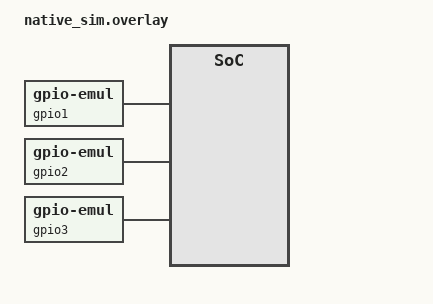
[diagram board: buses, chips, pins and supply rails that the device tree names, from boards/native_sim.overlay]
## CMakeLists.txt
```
# Copyright (c) 2021 Intel Corporation.
# SPDX-License-Identifier: Apache-2.0

cmake_minimum_required(VERSION 3.28.0)

find_package(Zephyr REQUIRED HINTS $ENV{ZEPHYR_BASE})
project(pm-states-test)

target_sources(app PRIVATE src/main.c)
```

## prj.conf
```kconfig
CONFIG_ZTEST=y
CONFIG_PM_DEVICE=y
CONFIG_PM=y
CONFIG_PM_POLICY_CUSTOM=y

CONFIG_GPIO=y
CONFIG_PM_DEVICE_WAKEUP_POWER_STATES=y
```

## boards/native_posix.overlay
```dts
/*
 * Copyright (c) 2021 Intel Corporation.
 *
 * SPDX-License-Identifier: Apache-2.0
 */

&gpio0 {
	compatible = "zephyr,gpio-emul";
	gpio-controller;
	wakeup-source;
};

/ {
	cpus {
		power-states {
			s2ram: s2ram {
				compatible = "zephyr,power-state";
				power-state-name = "suspend-to-ram";
			};
		};
	};
};

&cpu0 {
	cpu-power-states = <&s2ram>;
};
```

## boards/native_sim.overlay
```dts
/*
 * Copyright (c) 2021 Intel Corporation.
 *
 * SPDX-License-Identifier: Apache-2.0
 */
/ {
	cpus {
		power-states {
			state0: state0 {
				compatible = "zephyr,power-state";
				power-state-name = "suspend-to-ram";
			};

			/*
			 * Not in cpu-power-states: only ever named by the
			 * per-device properties below.
			 */
			state1: state1 {
				compatible = "zephyr,power-state";
				power-state-name = "standby";
			};
		};
	};

	/* Powered in every state, but cannot wake the system from state1. */
	gpio1: gpio_emul1 {
		compatible = "zephyr,gpio-emul";
		gpio-controller;
		#gpio-cells = <2>;
		rising-edge;
		falling-edge;
		high-level;
		low-level;
		wakeup-source;
		zephyr,wakeup-disabling-power-states = <&state1>;
		status = "okay";
	};

	/*
	 * Names no wakeup property of its own, but loses its power in state0,
	 * so it cannot wake the system from state0 either.
	 */
	gpio2: gpio_emul2 {
		compatible = "zephyr,gpio-emul";
		gpio-controller;
		#gpio-cells = <2>;
		rising-edge;
		falling-edge;
		high-level;
		low-level;
		wakeup-source;
		zephyr,disabling-power-states = <&state0>;
		status = "okay";
	};

	/*
	 * Names both properties: unpowered in state0, powered but unable to
	 * wake the system in state1.
	 */
	gpio3: gpio_emul3 {
		compatible = "zephyr,gpio-emul";
		gpio-controller;
		#gpio-cells = <2>;
		rising-edge;
		falling-edge;
		high-level;
		low-level;
		wakeup-source;
		zephyr,wakeup-disabling-power-states = <&state1>;
		zephyr,disabling-power-states = <&state0>;
		status = "okay";
	};
};

&gpio0 {
	compatible = "zephyr,gpio-emul";
	gpio-controller;
	wakeup-source;
};

&cpu0 {
	cpu-power-states = <&state0>;
};
```

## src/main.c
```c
/*
 * Copyright (c) 2021 Intel Corporation.
 *
 * SPDX-License-Identifier: Apache-2.0
 */

#include <zephyr/kernel.h>
#include <zephyr/ztest.h>
#include <zephyr/pm/pm.h>
#include <zephyr/pm/device.h>

static const struct device *const dev =
	DEVICE_DT_GET(DT_NODELABEL(gpio0));
/* Same, but names standby in zephyr,wakeup-disabling-power-states. */
static const struct device *const dev_no_wake =
	DEVICE_DT_GET(DT_NODELABEL(gpio1));
/* Same, but names suspend-to-ram in zephyr,disabling-power-states. */
static const struct device *const dev_unpowered =
	DEVICE_DT_GET(DT_NODELABEL(gpio2));
/* Same, but names a state in each of the two properties. */
static const struct device *const dev_both =
	DEVICE_DT_GET(DT_NODELABEL(gpio3));
static uint8_t sleep_count;


void pm_state_set(enum pm_state state, uint8_t substate_id)
{
	ARG_UNUSED(substate_id);

	enum pm_device_state dev_state;

	switch (sleep_count) {
	case 1:
		/* Just  a coherence check that the system is the right state.
		 * Devices are suspended before SoC on PM_STATE_SUSPEND_TO_RAM, that is why
		 * we can check the device state here.
		 */
		zassert_equal(state, PM_STATE_SUSPEND_TO_RAM, "Wrong system state");

		(void)pm_device_state_get(dev, &dev_state);
		zassert_equal(dev_state, PM_DEVICE_STATE_SUSPENDED, "Wrong device state");

		/* Enable wakeup source. Next time the system is called
		 * to sleep, this device will still be active.
		 */
		(void)pm_device_wakeup_enable(dev, true);
		break;
	case 2:
		zassert_equal(state, PM_STATE_SUSPEND_TO_RAM, "Wrong system state");

		/* Second time this function is called, the system is asked to standby
		 * and devices were suspended.
		 */
		(void)pm_device_state_get(dev, &dev_state);
		zassert_equal(dev_state, PM_DEVICE_STATE_ACTIVE, "Wrong device state");
		break;
	default:
		break;
	}
}

void pm_state_exit_post_ops(enum pm_state state, uint8_t substate_id)
{
	ARG_UNUSED(state);
	ARG_UNUSED(substate_id);
}

const struct pm_state_info *pm_policy_next_state(uint8_t cpu, int32_t ticks)
{
	const struct pm_state_info *cpu_states;

	zassert_true(pm_state_cpu_get_all(cpu, &cpu_states) == 1,
		     "There is no power state defined");

	while (sleep_count < 3) {
		sleep_count++;
		return &cpu_states[0];
	}

	return NULL;
}

ZTEST(wakeup_device_1cpu, test_wakeup_device_api)
{
	bool ret = false;

	zassert_true(device_is_ready(dev), "Device not ready");

	ret = pm_device_wakeup_is_capable(dev);
	zassert_true(ret, "Device not marked as capable");

	ret = pm_device_wakeup_enable(dev, true);
	zassert_true(ret, "Could not enable wakeup source");

	ret = pm_device_wakeup_is_enabled(dev);
	zassert_true(ret, "Wakeup source not enabled");

	ret = pm_device_wakeup_enable(dev, false);
	zassert_true(ret, "Could not disable wakeup source");

	ret = pm_device_wakeup_is_enabled(dev);
	zassert_false(ret, "Wakeup source is enabled");
}

ZTEST(wakeup_device_1cpu, test_wakeup_device_api_per_state)
{
	zassert_true(device_is_ready(dev_no_wake), "Device not ready");
	zassert_true(device_is_ready(dev_unpowered), "Device not ready");

	/* Names no state it cannot wake from: capable from every state, which
	 * is what pm_device_wakeup_is_capable() has always reported.
	 */
	zassert_true(pm_device_wakeup_is_capable(dev), "Device not marked as capable");
	zassert_true(pm_device_wakeup_is_capable_from_state(dev, PM_STATE_SUSPEND_TO_RAM, 0),
		     "Device naming no state must be capable from every state");
	zassert_true(pm_device_wakeup_is_capable_from_state(dev, PM_STATE_STANDBY, 0),
		     "Device naming no state must be capable from every state");

	/* zephyr,wakeup-disabling-power-states = <&state1>, i.e. not standby. */
	zassert_true(pm_device_wakeup_is_capable(dev_no_wake), "Device not marked as capable");
	zassert_false(pm_device_wakeup_is_capable_from_state(dev_no_wake, PM_STATE_STANDBY, 0),
		      "Device must not be capable from a state it named");
	zassert_true(pm_device_wakeup_is_capable_from_state(dev_no_wake,
							   PM_STATE_SUSPEND_TO_RAM, 0),
		     "Device must be capable from a state it did not name");

	/* zephyr,disabling-power-states = <&state0>: unpowered in
	 * suspend-to-ram, so not capable from it either, without the node
	 * having to name the state twice.
	 */
	zassert_true(pm_device_wakeup_is_capable(dev_unpowered), "Device not marked as capable");
	zassert_false(pm_device_wakeup_is_capable_from_state(dev_unpowered,
							    PM_STATE_SUSPEND_TO_RAM, 0),
		      "A state that removes the device power must not be wake capable");
	zassert_true(pm_device_wakeup_is_capable_from_state(dev_unpowered, PM_STATE_STANDBY, 0),
		     "Device must be capable from a state that keeps its power");

	/* Names a state in each property: both answers come back false, and a
	 * state named by neither is unaffected.
	 */
	zassert_true(device_is_ready(dev_both), "Device not ready");
	zassert_false(pm_device_wakeup_is_capable_from_state(dev_both, PM_STATE_STANDBY, 0),
		      "Device must not be capable from the state it named as no-wakeup");
	zassert_false(pm_device_wakeup_is_capable_from_state(dev_both,
							    PM_STATE_SUSPEND_TO_RAM, 0),
		      "Device must not be capable from the state that removes its power");
	zassert_true(pm_device_wakeup_is_capable_from_state(dev_both, PM_STATE_SOFT_OFF, 0),
		     "Device must be capable from a state neither property names");
}

ZTEST(wakeup_device_1cpu, test_wakeup_device_system_pm)
{
	/*
	 * Trigger system PM. The policy manager will return
	 * PM_STATE_SUSPEND_TO_RAM and then the PM subsystem will
	 * suspend all devices. As gpio is wakeup capability is not
	 * enabled, the device will be suspended.  This will be
	 * confirmed in pm_state_set().
	 *
	 * As the native posix implementation does not properly sleeps,
	 * the idle thread will call several times the PM subsystem. This
	 * test workaround this problem keeping track of the calls using
	 * the sleep_count variable.
	 */
	k_sleep(K_SECONDS(1));
}

ZTEST_SUITE(wakeup_device_1cpu, NULL, NULL, ztest_simple_1cpu_before,
			ztest_simple_1cpu_after, NULL);
```
